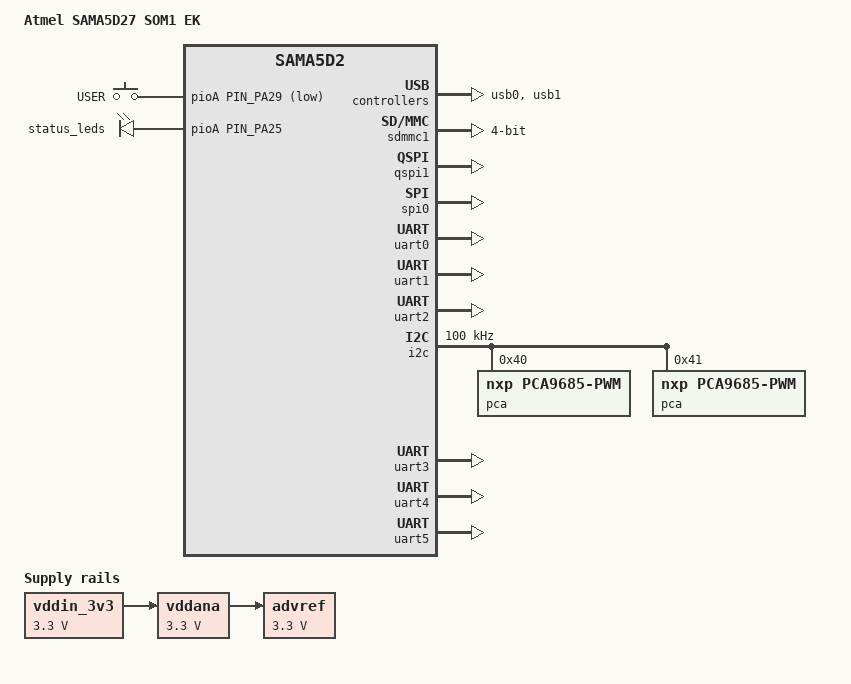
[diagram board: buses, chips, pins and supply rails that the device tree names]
/*
 * at91-sama5d27_som1_ek.dts - Device Tree file for SAMA5D27-SOM1-EK board
 *
 *  Copyright (c) 2017, Microchip Technology Inc.
 *                2016 Nicolas Ferre <nicolas.ferre@atmel.com>
 *                2017 Cristian Birsan <cristian.birsan@microchip.com>
 *                2017 Claudiu Beznea <claudiu.beznea@microchip.com>
 *
 * This file is dual-licensed: you can use it either under the terms
 * of the GPL or the X11 license, at your option. Note that this dual
 * licensing only applies to this file, and not this project as a
 * whole.
 *
 *  a) This file is free software; you can redistribute it and/or
 *     modify it under the terms of the GNU General Public License as
 *     published by the Free Software Foundation; either version 2 of the
 *     License, or (at your option) any later version.
 *
 *     This file is distributed in the hope that it will be useful,
 *     but WITHOUT ANY WARRANTY; without even the implied warranty of
 *     MERCHANTABILITY or FITNESS FOR A PARTICULAR PURPOSE.  See the
 *     GNU General Public License for more details.
 *
 * Or, alternatively,
 *
 *  b) Permission is hereby granted, free of charge, to any person
 *     obtaining a copy of this software and associated documentation
 *     files (the "Software"), to deal in the Software without
 *     restriction, including without limitation the rights to use,
 *     copy, modify, merge, publish, distribute, sublicense, and/or
 *     sell copies of the Software, and to permit persons to whom the
 *     Software is furnished to do so, subject to the following
 *     conditions:
 *
 *     The above copyright notice and this permission notice shall be
 *     included in all copies or substantial portions of the Software.
 *
 *     THE SOFTWARE IS PROVIDED "AS IS", WITHOUT WARRANTY OF ANY KIND,
 *     EXPRESS OR IMPLIED, INCLUDING BUT NOT LIMITED TO THE WARRANTIES
 *     OF MERCHANTABILITY, FITNESS FOR A PARTICULAR PURPOSE AND
 *     NONINFRINGEMENT. IN NO EVENT SHALL THE AUTHORS OR COPYRIGHT
 *     HOLDERS BE LIABLE FOR ANY CLAIM, DAMAGES OR OTHER LIABILITY,
 *     WHETHER IN AN ACTION OF CONTRACT, TORT OR OTHERWISE, ARISING
 *     FROM, OUT OF OR IN CONNECTION WITH THE SOFTWARE OR THE USE OR
 *     OTHER DEALINGS IN THE SOFTWARE.
 */
/dts-v1/;
#include "at91-sama5d27_som1.dtsi"
#include <dt-bindings/mfd/atmel-flexcom.h>
#include <dt-bindings/gpio/gpio.h>

/ {
	model = "Atmel SAMA5D27 SOM1 EK";
	compatible = "atmel,sama5d27-som1-ek", "atmel,sama5d27-som1", "atmel,sama5d27", "atmel,sama5d2", "atmel,sama5";

	aliases {
		serial0 = &uart1;	/* DBGU */
		serial1 = &uart0;	/* mikro BUS 1 */
		serial2 = &uart2;	/* mikro BUS 1 */
		serial3 = &uart3;	/* mikro BUS 2 */
		serial4 = &uart4;	/* mikro BUS 2 */
		serial5 = &uart5;	/* mikro BUS 2 */
		i2c1	= &i2c;
	};

	chosen {
		stdout-path = "serial0:115200n8";
	};

	ahb {
		usb0: gadget@300000 {
			atmel,vbus-gpio = <&pioA PIN_PD20 GPIO_ACTIVE_HIGH>;
			pinctrl-names = "default";
			pinctrl-0 = <&pinctrl_usba_vbus>;
			status = "okay";
		};

		usb1: ohci@400000 {
			num-ports = <3>;
			atmel,vbus-gpio = <0 /* &pioA PIN_PD20 GPIO_ACTIVE_HIGH */
					   &pioA PIN_PA27 GPIO_ACTIVE_HIGH
					   0
					  >;
			pinctrl-names = "default";
			pinctrl-0 = <&pinctrl_usb_default>;
			status = "okay";
		};

		usb2: ehci@500000 {
			status = "disable";
		};

		sdmmc1: sdio-host@b0000000 {
			bus-width = <4>;
			pinctrl-names = "default";
			pinctrl-0 = <&pinctrl_sdmmc1_default>;
			status = "okay";
		};

		apb {
			pmc: pmc@f0014000 {
				pmc_fast_restart {
					compatible = "atmel,sama5d2-pmc-fast-startup";
					#address-cells = <1>;
					#size-cells = <0>;

					atmel,wakeup-rtc-timer;

					wkpin: input@0 {
						reg = <0>;
					};

					gmac_wol: input@10 {
						reg = <10>;
						atmel,wakeup-active-high;
					};
				};
			};

			qspi1: spi@f0024000 {
				status = "okay";
			};

			spi0: spi@f8000000 {
				pinctrl-names = "default";
				pinctrl-0 = <&pinctrl_spi0_default>;
				status = "okay";
			};

			macb0: ethernet@f8008000 {
				status = "disable";
			};

			tcb0: timer@f800c000 {
				timer0: timer@0 {
					compatible = "atmel,tcb-timer";
					reg = <0>;
				};

				timer1: timer@1 {
					compatible = "atmel,tcb-timer";
					reg = <1>;
				};
			};
 
			uart0: serial@f801c000 {
				pinctrl-names = "default";
				pinctrl-0 = <&pinctrl_uart0_default>;
				atmel,use-dma-rx;
				atmel,use-dma-tx;
				status = "okay";
			};

			uart1: serial@f8020000 {
				pinctrl-names = "default";
				pinctrl-0 = <&pinctrl_uart1_default>;
				atmel,use-dma-rx;
				atmel,use-dma-tx;
				status = "okay";
			};

			uart2: serial@f8024000 {
				pinctrl-names = "default";
				pinctrl-0 = <&pinctrl_mikrobus2_uart &pinctrl_uart2_rts>;
				linux,rs485-enabled-at-boot-time;
				rs485-rts-delay = <0 0>;
				atmel,use-dma-rx;
				atmel,use-dma-tx;
				status = "okay";
			};

			pwm0: pwm@f802c000 {
				pinctrl-names = "default";
				pinctrl-0 = <&pinctrl_mikrobus1_pwm &pinctrl_mikrobus2_pwm>;
				status = "disabled"; /* Conflict with leds. */
			};

			flx1: flexcom@f8038000 {
				atmel,flexcom-mode = <ATMEL_FLEXCOM_MODE_TWI>;
				status = "okay";

				i2c: i2c@600 {
					compatible = "atmel,sama5d2-i2c";
					reg = <0x600 0x200>;
					interrupts = <20 IRQ_TYPE_LEVEL_HIGH 7>;
					dmas = <0>, <0>;
					dma-names = "tx", "rx";
					#address-cells = <1>;
					#size-cells = <0>;
					clocks = <&flx1_clk>;
					pinctrl-names = "default";
					pinctrl-0 = <&pinctrl_mikrobus_i2c>;
					atmel,fifo-size = <16>;
					status = "okay";
					clock-frequency = <100000>;

					/* pca9685 pwm module 0 */
					pca@40 {
					       compatible = "nxp,pca9685-pwm";
					       #pwm-cells = <2>;
					       reg = <0x40>;
					       /* invert; */
					       /* open-drain; */
					};

					/* pca9685 pwm module 1 */
					pca@41 {
						compatible = "nxp,pca9685-pwm";
						#pwm-cells = <2>;
						reg = <0x41>;
						/* invert; */
						/* open-drain; */
					};
				};
			};

			shdwc@f8048010 {
				atmel,shdwc-debouncer = <976>;
				atmel,wakeup-rtc-timer;

				input@0 {
					reg = <0>;
					atmel,wakeup-type = "low";
				};
			};

			watchdog@f8048040 {
				status = "okay";
			};

			uart3: serial@fc008000 {
				atmel,use-dma-rx;
				atmel,use-dma-tx;
				pinctrl-names = "default";
				pinctrl-0 = <&pinctrl_uart3_default>;
				/*rs485-rts-delay = <0 0>;
				linux,rs485-enabled-at-boot-time;*/
				status = "okay"; /* Conflict with isc. */
			};

			uart4: serial@fc00c000 {
				atmel,use-dma-rx;
				atmel,use-dma-tx;
				pinctrl-names = "default";
				pinctrl-0 = <&pinctrl_mikrobus1_uart>;
				status = "okay";
			};


			flx2: flexcom@fc010000 {
				atmel,flexcom-mode = <ATMEL_FLEXCOM_MODE_USART>;
				status = "okay";

				uart5: serial@200 {
					compatible = "atmel,at91sam9260-usart";
					reg = <0x200 0x200>;
					interrupts = <21 IRQ_TYPE_LEVEL_HIGH 7>;
					clocks = <&flx2_clk>;
					clock-names = "usart";
					pinctrl-names = "default";
					pinctrl-0 = <&pinctrl_flx2_default>;
					atmel,fifo-size = <32>;
					status = "okay";
				};
			};


			flx3: flexcom@fc014000 {
				atmel,flexcom-mode = <ATMEL_FLEXCOM_MODE_SPI>;
				status = "disabled";

				uart7: serial@200 {
					compatible = "atmel,at91sam9260-usart";
					reg = <0x200 0x200>;
					interrupts = <22 IRQ_TYPE_LEVEL_HIGH 7>;
					clocks = <&flx3_clk>;
					clock-names = "usart";
					pinctrl-names = "default";
					pinctrl-0 = <&pinctrl_flx3_default>;
					atmel,fifo-size = <32>;
					status = "disabled"; /* Conflict with isc. */
				};

				spi2: spi@400 {
					compatible = "atmel,at91rm9200-spi";
					reg = <0x400 0x200>;
					interrupts = <22 IRQ_TYPE_LEVEL_HIGH 7>;
					clocks = <&flx3_clk>;
					clock-names = "spi_clk";
					pinctrl-names = "default";
					pinctrl-0 = <&pinctrl_flx3_default>;
					atmel,fifo-size = <16>;
					status = "disabled"; /* Conflict with isc. */
				};
			};

			flx4: flexcom@fc018000 {
				atmel,flexcom-mode = <ATMEL_FLEXCOM_MODE_SPI>;
				status = "okay";

				uart6: serial@200 {
					compatible = "atmel,at91sam9260-usart";
					reg = <0x200 0x200>;
					interrupts = <23 IRQ_TYPE_LEVEL_HIGH 7>;
					clocks = <&flx4_clk>;
					clock-names = "usart";
					pinctrl-names = "default";
					pinctrl-0 = <&pinctrl_flx4_default>;
					atmel,fifo-size = <32>;
					status = "disabled"; /* Conflict with spi3 and i2c3. */
				};

				spi3: spi@400 {
					compatible = "atmel,at91rm9200-spi";
					reg = <0x400 0x200>;
					interrupts = <23 IRQ_TYPE_LEVEL_HIGH 7>;
					clocks = <&flx4_clk>;
					clock-names = "spi_clk";
					pinctrl-names = "default";
					pinctrl-0 = <&pinctrl_mikrobus_spi &pinctrl_mikrobus1_spi_cs &pinctrl_mikrobus2_spi_cs>;
					atmel,fifo-size = <16>;
					status = "disabled"; /* Conflict with uart6 and i2c3. */
				};

			};

			adc: adc@fc030000 {
				vddana-supply = <&vddana>;
				vref-supply = <&advref>;

				status = "disabled";
			};

			pinctrl@fc038000 {

				pinctrl_can1_default: can1_default {
					pinmux = <PIN_PC26__CANTX1>,
						 <PIN_PC27__CANRX1>;
					bias-disable;
				};

				pinctrl_flx2_default: flx2_default {
					pinmux = <PIN_PA6__FLEXCOM2_IO0>,
						 <PIN_PA7__FLEXCOM2_IO1>;
					bias-disable;
				};

				pinctrl_flx3_default: flx3_default {
					pinmux = <PIN_PC20__FLEXCOM3_IO0>,
						 <PIN_PC19__FLEXCOM3_IO1>,
						 <PIN_PC18__FLEXCOM3_IO2>,
						 <PIN_PC21__FLEXCOM3_IO3>,
						 <PIN_PC22__FLEXCOM3_IO4>;
					bias-disable;
				};

				pinctrl_i2c1_default: i2c1_default {
					pinmux = <PIN_PD4__TWD1>,
						 <PIN_PD5__TWCK1>;
					bias-disable;
				};

				pinctrl_key_gpio_default: key_gpio_default {
					pinmux = <PIN_PA29__GPIO>;
					bias-pull-up;
				};

				pinctrl_led_gpio_default: led_gpio_default {
					pinmux = <PIN_PA25__GPIO>;
					bias-pull-up;
				};

				pinctrl_sdmmc1_default: sdmmc1_default {
					cmd_data {
						pinmux = <PIN_PA28__SDMMC1_CMD>,
							 <PIN_PA18__SDMMC1_DAT0>,
							 <PIN_PA19__SDMMC1_DAT1>,
							 <PIN_PA20__SDMMC1_DAT2>,
							 <PIN_PA21__SDMMC1_DAT3>;
						bias-disable;
					};

					conf-ck_cd {
						pinmux = <PIN_PA22__SDMMC1_CK>,
							 <PIN_PA30__SDMMC1_CD>;
						bias-disable;
					};
				};

				pinctrl_spi0_default: spi0_default {
					pinmux = <PIN_PA14__SPI0_SPCK>,
						 <PIN_PA15__SPI0_MOSI>,
						 <PIN_PA16__SPI0_MISO>,
						 <PIN_PA17__SPI0_NPCS0>;
					bias-disable;
				};

				pinctrl_uart0_default: uart0_default {
					pinmux = <PIN_PB26__URXD0>,
						 <PIN_PB27__UTXD0>;
					bias-disable;
				};

				pinctrl_uart1_default: uart1_default {
					pinmux = <PIN_PD2__URXD1>,
						 <PIN_PD3__UTXD1>;
					bias-disable;
				};

				pinctrl_uart3_default: uart3_default {
					pinmux = <PIN_PC12__URXD3>,
						 <PIN_PC13__UTXD3>;
					bias-disable;
				};
				
				pinctrl_usart3_rts: usart3_rts {
					pinmux = <PIN_PC9__GPIO>;
					bias-disable;		
				};

				pinctrl_usb_default: usb_default {
					pinmux = <PIN_PA27__GPIO>,
						 <PIN_PD19__GPIO>;
					bias-disable;
				};

				pinctrl_usba_vbus: usba_vbus {
					pinmux = <PIN_PD20__GPIO>;
					bias-disable;
				};

				pinctrl_mikrobus1_an: mikrobus1_an {
					pinmux = <PIN_PD25__GPIO>;
					bias-disable;
				};

				pinctrl_mikrobus2_an: mikrobus2_an {
					pinmux = <PIN_PD26__GPIO>;
					bias-disable;
				};

				pinctrl_mikrobus1_rst: mikrobus1_rst {
					pinmux = <PIN_PB2__GPIO>;
					bias-disable;
				};

				pinctrl_mikrobus2_rst: mikrobus2_rst {
					pinmux = <PIN_PA26__GPIO>;
					bias-disable;
				};

				pinctrl_mikrobus1_spi_cs: mikrobus1_spi_cs {
					pinmux = <PIN_PD0__FLEXCOM4_IO4>;
					bias-disable;
				};

				pinctrl_mikrobus2_spi_cs: mikrobus2_spi_cs {
					pinmux = <PIN_PC31__FLEXCOM4_IO3>;
					bias-disable;
				};

				pinctrl_mikrobus_spi: mikrobus_spi {
					pinmux = <PIN_PC28__FLEXCOM4_IO0>,
						 <PIN_PC29__FLEXCOM4_IO1>,
						 <PIN_PC30__FLEXCOM4_IO2>;
					bias-disable;
				};

				pinctrl_mikrobus1_pwm: mikrobus1_pwm {
					pinmux = <PIN_PB1__PWML1>;
					bias-disable;
				};

				pinctrl_mikrobus2_pwm: mikrobus2_pwm {
					pinmux = <PIN_PA31__PWML0>;
					bias-disable;
				};

				pinctrl_mikrobus1_int: mikrobus1_int {
					pinmux = <PIN_PB0__GPIO>;
					bias-disable;
				};

				pinctrl_mikrobus1_uart: mikrobus1_uart {
					pinmux = <PIN_PB3__URXD4>,
						 <PIN_PB4__UTXD4>;
					bias-disable;
				};

				pinctrl_mikrobus2_uart: mikrobus2_uart {
					pinmux = <PIN_PD23__URXD2>,
						 <PIN_PD24__UTXD2>;
					bias-disable;
				};

				pinctrl_uart2_rts: uart2_rts {
					pinmux = <PIN_PC17__GPIO>;
					bias-disable;		
				};
				
				pinctrl_mikrobus_i2c: mikrobus1_i2c {
					pinmux = <PIN_PA24__FLEXCOM1_IO0>,
						 <PIN_PA23__FLEXCOM1_IO1>;
					bias-disable;
				};

				pinctrl_flx4_default: flx4_uart_default {
					pinmux = <PIN_PC28__FLEXCOM4_IO0>,
						 <PIN_PC29__FLEXCOM4_IO1>,
						 <PIN_PC30__FLEXCOM4_IO2>,
						 <PIN_PC31__FLEXCOM4_IO3>,
						 <PIN_PD0__FLEXCOM4_IO4>;
					bias-disable;
				};
			};

			can1: can@fc050000 {
				pinctrl-names = "default";
				pinctrl-0 = <&pinctrl_can1_default>;
				status = "disable";
			};
		};
	};

	gpio_keys {
		compatible = "gpio-keys";

		pinctrl-names = "default";
		pinctrl-0 = <&pinctrl_key_gpio_default>;

		pb4 {
			label = "USER";
			gpios = <&pioA PIN_PA29 GPIO_ACTIVE_LOW>;
			linux,code = <0x31>;
		};
	};

	leds {
		compatible = "gpio-leds";
		pinctrl-names = "default";
		pinctrl-0 = <&pinctrl_led_gpio_default>;
		status = "okay";

		status_leds {
			label = "status_leds";
			gpios = <&pioA PIN_PA25 GPIO_ACTIVE_HIGH>;
			default-state = "off";
		};
	};

	vddin_3v3: fixed-regulator-vddin_3v3 {
		compatible = "regulator-fixed";

		regulator-name = "VDDIN_3V3";
		regulator-min-microvolt = <3300000>;
		regulator-max-microvolt = <3300000>;
		regulator-always-on;
		regulator-boot-on;
		status = "okay";
	};

	vddana: fixed-regulator-vddana {
		compatible = "regulator-fixed";

		regulator-name = "VDDANA";
		regulator-min-microvolt = <3300000>;
		regulator-max-microvolt = <3300000>;
		regulator-always-on;
		regulator-boot-on;
		vin-supply = <&vddin_3v3>;
		status = "okay";
	};

	advref: fixed-regulator-advref {
		compatible = "regulator-fixed";

		regulator-name = "advref";
		regulator-min-microvolt = <3300000>;
		regulator-max-microvolt = <3300000>;
		regulator-always-on;
		regulator-boot-on;
		vin-supply = <&vddana>;
		status = "okay";
	};
};
